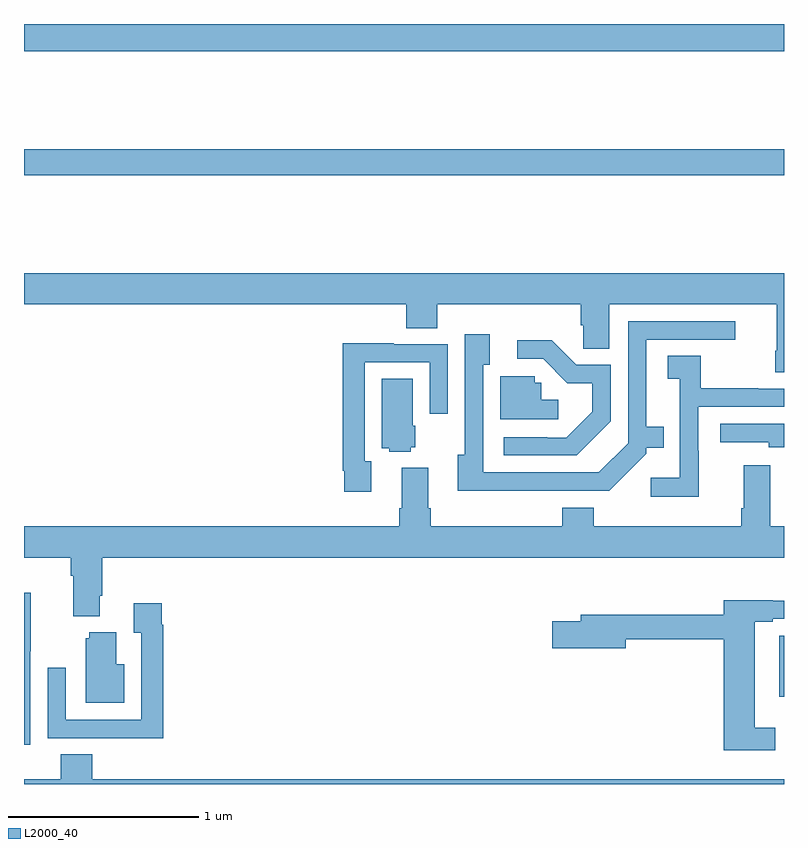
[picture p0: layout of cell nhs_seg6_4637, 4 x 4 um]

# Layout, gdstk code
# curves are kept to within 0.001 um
import gdstk
lib = gdstk.Library(unit=1e-6, precision=1e-09)
def R(c, l, rs):  # rectangles x0, y0, x1, y1
    for r in rs: c.add(gdstk.rectangle(r[:2], r[2:], *l))
def P(c, l, *ps):  # polygons
    for p in ps: c.add(gdstk.Polygon(p, *l))
L2000_40 = (2000, 40)

nhs_seg6_4637 = lib.new_cell('nhs_seg6_4637')
R(nhs_seg6_4637, L2000_40, [(385,926.704,389,926.84), (385,927.356,389,927.5)])
P(nhs_seg6_4637, L2000_40, [(389,926.188),(385,926.188),(385,926.024),(387.011,926.024),(387.011,925.9),(387.176,925.9),(387.176,926.024),(387.929,926.024),(387.929,925.914),(387.943,925.914),(387.943,925.792),(388.081,925.792),(388.081,926.024),(388.961,926.024),(388.961,925.78),(388.954,925.78),(388.954,925.668),(389,925.668)],
  [(387.749,925.044),(388.08,925.044),(388.275,925.239),(388.275,925.271),(388.367,925.271),(388.367,925.381),(388.276,925.381),(388.276,925.839),(388.744,925.839),(388.744,925.935),(388.179,925.935),(388.179,925.293),(388.026,925.14),(387.417,925.14),(387.417,925.706),(387.451,925.706),(387.451,925.867),(387.321,925.867),(387.321,925.234),(387.284,925.234),(387.284,925.043)],
  [(388.089,925.409),(388.089,925.707),(387.906,925.707),(387.778,925.835),(387.597,925.835),(387.597,925.737),(387.732,925.737),(387.859,925.61),(387.992,925.61),(387.992,925.46),(387.855,925.323),(387.755,925.323),(387.755,925.326),(387.525,925.326),(387.525,925.23),(387.91,925.23)],
  [(386.827,925.199),(386.793,925.199),(386.793,925.719),(387.135,925.719),(387.135,925.449),(387.231,925.449),(387.231,925.815),(386.947,925.815),(386.947,925.819),(386.677,925.819),(386.677,925.15),(386.685,925.15),(386.685,925.038),(386.827,925.038)],
  [(388.551,925.253),(388.548,925.253),(388.548,925.485),(389,925.485),(389,925.581),(388.865,925.581),(388.865,925.584),(388.561,925.584),(388.561,925.754),(388.389,925.754),(388.389,925.633),(388.452,925.633),(388.452,925.111),(388.299,925.111),(388.299,925.013),(388.551,925.013)],
  [(387.811,925.522),(387.723,925.522),(387.723,925.611),(387.687,925.611),(387.687,925.647),(387.506,925.647),(387.506,925.419),(387.811,925.419)],
  [(387.036,925.272),(387.058,925.272),(387.058,925.386),(387.046,925.386),(387.046,925.634),(386.882,925.634),(386.882,925.268),(386.922,925.268),(386.922,925.25),(387.036,925.25)],
  [(389,925.395),(388.665,925.395),(388.665,925.299),(388.92,925.299),(388.92,925.272),(389,925.272)],
  [(385.399,924.49),(385.412,924.49),(385.412,924.692),(389,924.692),(389,924.856),(388.927,924.856),(388.927,925.177),(388.787,925.177),(388.787,924.952),(388.775,924.952),(388.775,924.856),(387.998,924.856),(387.998,924.955),(387.833,924.955),(387.833,924.856),(387.14,924.856),(387.14,924.952),(387.127,924.952),(387.127,925.165),(386.987,925.165),(386.987,924.952),(386.975,924.952),(386.975,924.856),(385,924.856),(385,924.692),(385.247,924.692),(385.247,924.596),(385.259,924.596),(385.259,924.383),(385.399,924.383)],
  [(385.032,924.199),(385.035,924.199),(385.035,924.506),(385,924.506),(385,923.706),(385.032,923.706)],
  [(388.954,923.795),(388.846,923.795),(388.846,924.353),(388.942,924.353),(388.942,924.369),(389,924.369),(389,924.465),(388.942,924.465),(388.942,924.468),(388.682,924.468),(388.682,924.391),(387.929,924.391),(387.929,924.357),(387.78,924.357),(387.78,924.215),(388.168,924.215),(388.168,924.262),(388.682,924.262),(388.682,923.678),(388.954,923.678)],
  [(385.733,924.338),(385.726,924.338),(385.726,924.451),(385.577,924.451),(385.577,924.295),(385.617,924.295),(385.617,923.838),(385.221,923.838),(385.221,924.112),(385.125,924.112),(385.125,923.742),(385.441,923.742),(385.441,923.741),(385.733,923.741)],
  [(385.528,924.13),(385.486,924.13),(385.486,924.298),(385.343,924.298),(385.343,924.267),(385.325,924.267),(385.325,923.927),(385.528,923.927)],
  [(389,924.279),(388.975,924.279),(388.975,924.176),(388.974,924.176),(388.974,923.958),(389,923.958)],
  [(389,923.524),(385.358,923.524),(385.358,923.657),(385.193,923.657),(385.193,923.524),(385,923.524),(385,923.5),(389,923.5)])

lib.write_gds('nhs_seg6_4637.gds')
